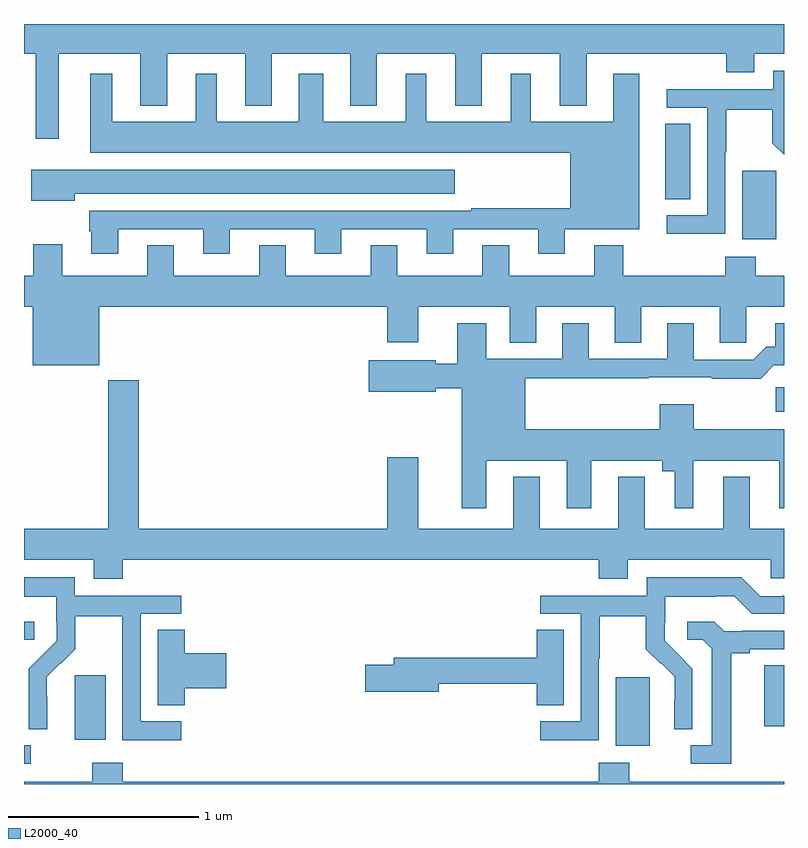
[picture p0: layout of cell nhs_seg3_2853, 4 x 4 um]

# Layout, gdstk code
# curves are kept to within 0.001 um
import gdstk
lib = gdstk.Library(unit=1e-6, precision=1e-09)
def R(c, l, rs):  # rectangles x0, y0, x1, y1
    for r in rs: c.add(gdstk.rectangle(r[:2], r[2:], *l))
def P(c, l, *ps):  # polygons
    for p in ps: c.add(gdstk.Polygon(p, *l))
L2000_40 = (2000, 40)

nhs_seg3_2853 = lib.new_cell('nhs_seg3_2853')
R(nhs_seg3_2853, L2000_40, [(259,702.507,259.036,702.603), (262.115,702.602,262.294,702.963), (259.268,702.633,259.429,702.973), (262.895,702.705,263,703.025), (259,703.158,259.054,703.255), (262.956,704.36,263,704.489), (262.781,705.266,262.96,705.627), (262.376,705.478,262.507,705.875)])
P(nhs_seg3_2853, L2000_40, [(259.183,706.244),(259.613,706.244),(259.613,705.971),(259.753,705.971),(259.753,706.244),(260.165,706.244),(260.165,705.971),(260.305,705.971),(260.305,706.244),(260.717,706.244),(260.717,705.971),(260.857,705.971),(260.857,706.244),(261.269,706.244),(261.269,705.971),(261.409,705.971),(261.409,706.244),(261.821,706.244),(261.821,705.971),(261.961,705.971),(261.961,706.244),(262.696,706.244),(262.696,706.145),(262.843,706.145),(262.843,706.244),(263,706.244),(263,706.4),(259,706.4),(259,706.244),(259.062,706.244),(259.062,705.795),(259.183,705.795)],
  [(262.692,705.724),(262.695,705.724),(262.695,705.948),(262.939,705.948),(262.939,705.773),(263,705.712),(263,706.153),(262.944,706.153),(262.944,706.056),(262.383,706.056),(262.383,705.96),(262.596,705.96),(262.596,705.393),(262.383,705.393),(262.383,705.295),(262.692,705.295)],
  [(259.495,705.321),(259.943,705.321),(259.943,705.192),(260.083,705.192),(260.083,705.321),(260.531,705.321),(260.531,705.192),(260.671,705.192),(260.671,705.321),(261.119,705.321),(261.119,705.192),(261.259,705.192),(261.259,705.321),(261.707,705.321),(261.707,705.192),(261.847,705.192),(261.847,705.32),(262.237,705.32),(262.237,706.138),(262.1,706.138),(262.1,705.886),(261.667,705.886),(261.667,706.138),(261.563,706.138),(261.563,705.886),(261.118,705.886),(261.118,706.138),(261.008,706.138),(261.008,705.886),(260.575,705.886),(260.575,706.138),(260.447,706.138),(260.447,705.886),(260.014,705.886),(260.014,706.138),(259.904,706.138),(259.904,705.886),(259.465,705.886),(259.465,706.138),(259.349,706.138),(259.349,705.722),(261.875,705.722),(261.875,705.43),(261.355,705.43),(261.355,705.417),(259.343,705.417),(259.343,705.309),(259.355,705.309),(259.355,705.192),(259.495,705.192)],
  [(259.267,705.506),(261.268,705.506),(261.268,705.634),(259.038,705.634),(259.038,705.47),(259.267,705.47)],
  [(259.396,704.912),(260.912,704.912),(260.912,704.724),(261.076,704.724),(261.076,704.912),(261.557,704.912),(261.557,704.722),(261.697,704.722),(261.697,704.912),(262.109,704.912),(262.109,704.722),(262.249,704.722),(262.249,704.912),(262.661,704.912),(262.661,704.722),(262.8,704.722),(262.8,704.912),(263,704.912),(263,705.076),(262.851,705.076),(262.851,705.175),(262.691,705.175),(262.691,705.076),(262.154,705.076),(262.154,705.235),(262.001,705.235),(262.001,705.076),(261.553,705.076),(261.553,705.236),(261.413,705.236),(261.413,705.076),(260.965,705.076),(260.965,705.236),(260.825,705.236),(260.825,705.076),(260.377,705.076),(260.377,705.236),(260.237,705.236),(260.237,705.076),(259.789,705.076),(259.789,705.236),(259.649,705.236),(259.649,705.076),(259.201,705.076),(259.201,705.241),(259.049,705.241),(259.049,705.076),(259,705.076),(259,704.912),(259.046,704.912),(259.046,704.603),(259.396,704.603)],
  [(261.433,704.102),(261.857,704.102),(261.857,703.851),(261.985,703.851),(261.985,704.102),(262.358,704.102),(262.358,704.045),(262.424,704.045),(262.424,703.851),(262.522,703.851),(262.522,704.102),(262.976,704.102),(262.976,703.851),(263,703.851),(263,704.266),(262.524,704.266),(262.524,704.398),(262.346,704.398),(262.346,704.266),(261.637,704.266),(261.637,704.536),(262.289,704.536),(262.289,704.54),(262.621,704.54),(262.621,704.534),(262.877,704.534),(262.946,704.603),(263,704.603),(263,704.824),(262.955,704.824),(262.955,704.701),(262.906,704.701),(262.839,704.634),(262.525,704.634),(262.525,704.824),(262.385,704.824),(262.385,704.637),(261.973,704.637),(261.973,704.824),(261.833,704.824),(261.833,704.637),(261.433,704.637),(261.433,704.824),(261.281,704.824),(261.281,704.611),(261.166,704.611),(261.166,704.629),(260.814,704.629),(260.814,704.464),(261.166,704.464),(261.166,704.482),(261.305,704.482),(261.305,703.851),(261.433,703.851)],
  [(259.52,703.58),(262.025,703.58),(262.025,703.481),(262.177,703.481),(262.177,703.58),(262.929,703.58),(262.929,703.482),(263,703.482),(263,703.744),(262.819,703.744),(262.819,704.017),(262.679,704.017),(262.679,703.744),(262.267,703.744),(262.267,704.017),(262.127,704.017),(262.127,703.744),(261.715,703.744),(261.715,704.017),(261.575,704.017),(261.575,703.744),(261.076,703.744),(261.076,704.119),(260.912,704.119),(260.912,703.744),(259.604,703.744),(259.604,704.524),(259.444,704.524),(259.444,703.744),(259,703.744),(259,703.58),(259.367,703.58),(259.367,703.481),(259.52,703.481)],
  [(259.828,702.729),(259.614,702.729),(259.614,703.296),(259.828,703.296),(259.828,703.392),(259.266,703.392),(259.266,703.489),(259,703.489),(259,703.385),(259.17,703.385),(259.17,703.251),(259.172,703.251),(259.172,703.154),(259.026,703.006),(259.026,702.688),(259.123,702.688),(259.123,702.86),(259.121,702.86),(259.121,702.965),(259.191,703.035),(259.194,703.032),(259.271,703.109),(259.271,703.284),(259.516,703.284),(259.516,703.06),(259.518,703.06),(259.518,702.631),(259.828,702.631)],
  [(262.026,703.06),(262.029,703.06),(262.029,703.284),(262.273,703.284),(262.273,703.109),(262.35,703.032),(262.353,703.035),(262.424,702.965),(262.424,702.842),(262.422,702.842),(262.422,702.688),(262.518,702.688),(262.518,703.006),(262.372,703.154),(262.372,703.251),(262.374,703.251),(262.374,703.385),(262.637,703.385),(262.637,703.389),(262.737,703.389),(262.83,703.296),(263,703.296),(263,703.392),(262.991,703.392),(262.991,703.389),(262.875,703.389),(262.775,703.489),(262.278,703.489),(262.278,703.392),(261.717,703.392),(261.717,703.296),(261.93,703.296),(261.93,702.729),(261.717,702.729),(261.717,702.631),(262.026,702.631)],
  [(262.723,703.088),(262.819,703.088),(262.819,703.11),(263,703.11),(263,703.206),(262.78,703.206),(262.78,703.203),(262.686,703.203),(262.634,703.255),(262.491,703.255),(262.491,703.158),(262.572,703.158),(262.619,703.111),(262.619,702.603),(262.509,702.603),(262.509,702.507),(262.723,702.507)],
  [(259.847,702.905),(260.065,702.905),(260.065,703.088),(259.847,703.088),(259.847,703.211),(259.703,703.211),(259.703,702.814),(259.847,702.814)],
  [(261.841,703.211),(261.698,703.211),(261.698,703.064),(260.945,703.064),(260.945,703.028),(260.796,703.028),(260.796,702.886),(261.184,702.886),(261.184,702.928),(261.698,702.928),(261.698,702.814),(261.841,702.814)],
  [(263,702.412),(262.185,702.412),(262.185,702.511),(262.025,702.511),(262.025,702.412),(259.52,702.412),(259.52,702.511),(259.36,702.511),(259.36,702.412),(259,702.412),(259,702.4),(263,702.4)])

lib.write_gds('nhs_seg3_2853.gds')
